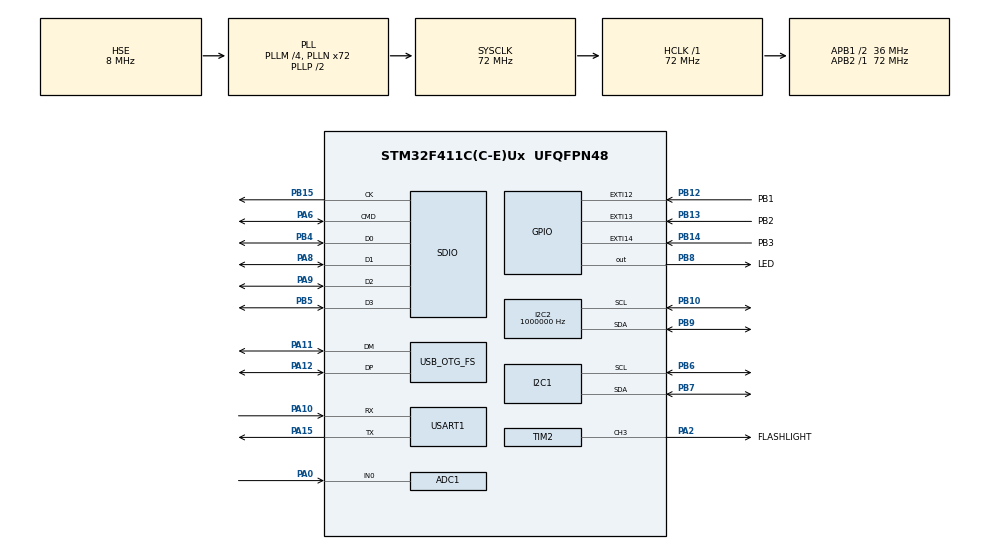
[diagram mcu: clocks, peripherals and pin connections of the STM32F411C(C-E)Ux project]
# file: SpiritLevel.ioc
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Mcu.Family=STM32F4
PA6.Mode=SD_4_bits_Wide_bus
USB_DEVICE.CLASS_NAME_FS=MSC
RCC.CortexFreq_Value=72000000
FATFS._USE_LFN=1
PB10.Mode=I2C
VP_FATFS_VS_SDIO.Mode=SDIO
PB14.GPIO_Label=PB3
PA11.Mode=Device_Only
PB13.GPIO_Label=PB2
PB13.Signal=GPXTI13
PB15.Signal=SDIO_CK
RCC.SYSCLKSource=RCC_SYSCLKSOURCE_PLLCLK
ProjectManager.StackSize=0x400
PA12.Signal=USB_OTG_FS_DP
PH0\ -\ OSC_IN.Signal=RCC_OSC_IN
TIM2.Pulse-PWM\ Generation3\ CH3=0x7FFFFFFF
RCC.HCLKFreq_Value=72000000
RCC.APB2TimFreq_Value=72000000
PB6.Signal=I2C1_SCL
PB6.Mode=I2C
RCC.AHBFreq_Value=72000000
NVIC.EXTI15_10_IRQn=true\:0\:0\:false\:false\:true\:true\:true
ADC1.Channel-0\#ChannelRegularConversion=ADC_CHANNEL_0
RCC.HSE_VALUE=8000000
PB3.Mode=Trace_Asynchronous_SW
PA15.Mode=Asynchronous
PB12.GPIO_Label=PB1
PB4.Mode=SD_4_bits_Wide_bus
PA14.Mode=Trace_Asynchronous_SW
PB5.Mode=SD_4_bits_Wide_bus
PB7.Signal=I2C1_SDA
PA8.Signal=SDIO_D1
SH.ADCx_IN0.0=ADC1_IN0,IN0
ADC1.SamplingTime-0\#ChannelRegularConversion=ADC_SAMPLETIME_3CYCLES
Mcu.Package=UFQFPN48
PB9.Signal=I2C2_SDA
PB14.GPIO_PuPd=GPIO_PULLUP
PA6.Signal=SDIO_CMD
NVIC.OTG_FS_IRQn=true\:0\:0\:false\:false\:true\:false\:true
PA2.GPIO_Label=FLASHLIGHT
PA10.Signal=USART1_RX
USB_OTG_FS.VirtualMode=Device_Only
PA15.Signal=USART1_TX
RCC.APB1TimFreq_Value=72000000
VP_USB_DEVICE_VS_USB_DEVICE_MSC_FS.Mode=MSC_FS
I2C2.I2C_Mode=I2C_Fast
PB4.Signal=SDIO_D0
PB14.GPIO_ModeDefaultEXTI=GPIO_MODE_IT_FALLING
ADC1.Rank-0\#ChannelRegularConversion=1
PA10.Mode=Asynchronous
USB_DEVICE.VirtualModeFS=Msc_FS
PH1\ -\ OSC_OUT.Mode=HSE-External-Clock-Source
RCC.APB1CLKDivider=RCC_HCLK_DIV2
PB13.GPIO_ModeDefaultEXTI=GPIO_MODE_IT_FALLING
PA0-WKUP.Signal=ADCx_IN0
PA13.Signal=SYS_JTMS-SWDIO
PB8.GPIO_Label=LED
PA9.Mode=SD_4_bits_Wide_bus
PH0\ -\ OSC_IN.Mode=HSE-External-Clock-Source
ProjectManager.TargetToolchain=Makefile
PB9.Mode=I2C
PA9.Signal=SDIO_D2
SDIO.ClockDiv=5
RCC.LSE_VALUE=32768
PB10.Signal=I2C2_SCL
PB14.Signal=GPXTI14
PH1\ -\ OSC_OUT.Signal=RCC_OSC_OUT
board=custom
RCC.VCOOutputFreq_Value=144000000
PB15.Mode=SD_4_bits_Wide_bus
PB13.GPIO_PuPd=GPIO_PULLUP
RCC.APB2Freq_Value=72000000
VP_TIM2_VS_ClockSourceINT.Mode=Internal
SH.S_TIM2_CH3.0=TIM2_CH3,PWM Generation3 CH3
I2C2.ClockSpeed=1000000
TIM2.Channel-PWM\ Generation3\ CH3=TIM_CHANNEL_3
TIM2.Period=0xFFFFFFFF
PA13.Mode=Trace_Asynchronous_SW
Mcu.Name=STM32F411C(C-E)Ux
PA2.Signal=S_TIM2_CH3
RCC.48MHZClocksFreq_Value=48000000
PB3.Signal=SYS_JTDO-SWO
RCC.SYSCLKFreq_VALUE=72000000
PB5.Signal=SDIO_D3
ADC1.master=1
PA12.Mode=Device_Only
USART1.VirtualMode=VM_ASYNC
PB7.Mode=I2C
PA11.Signal=USB_OTG_FS_DM
PA14.Signal=SYS_JTCK-SWCLK
ProjectManager.HeapSize=0x200
PB12.GPIO_ModeDefaultEXTI=GPIO_MODE_IT_FALLING
RCC.HSI_VALUE=16000000
RCC.PLLQ=3
NVIC.PriorityGroup=NVIC_PRIORITYGROUP_4
ADC1.NbrOfConversionFlag=1
RCC.PLLM=4
RCC.PLLN=72
PB8.Signal=GPIO_Output
PA8.Mode=SD_4_bits_Wide_bus
PB12.GPIO_PuPd=GPIO_PULLUP
RCC.APB1Freq_Value=36000000
USB_DEVICE.VirtualMode=Msc
PB12.Signal=GPXTI12

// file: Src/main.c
/* USER CODE BEGIN Header */
/**
  ******************************************************************************
  * @file           : main.c
  * @brief          : Main program body
  ******************************************************************************
  * @attention
  *
  * <h2><center>&copy; Copyright (c) 2020 STMicroelectronics.
  * All rights reserved.</center></h2>
  *
  * This software component is licensed by ST under BSD 3-Clause license,
  * the "License"; You may not use this file except in compliance with the
  * License. You may obtain a copy of the License at:
  *                        opensource.org/licenses/BSD-3-Clause
  *
  ******************************************************************************
  */
/* USER CODE END Header */
#include "main.h"
#include "adc.h"
#include "fatfs.h"
#include "i2c.h"
#include "sdio.h"
#include "tim.h"
#include "usart.h"
#include "usb_device.h"
#include "gpio.h"

/* USER CODE BEGIN Includes */

#include "ssd1306.h"
#include "api.h"
#include "ui.h"

#include "appmenugeneration.h"
#include "guiassets.h"

#include "swo.h"

#include <stdbool.h>

/* USER CODE END Includes */

void SystemClock_Config(void);
/* USER CODE BEGIN PFP */

void showDevices(void);

/* USER CODE END PFP */

int main(void)
{

  /* MCU Configuration--------------------------------------------------------*/

  /* Reset of all peripherals, Initializes the Flash interface and the Systick. */
  HAL_Init();

  /* Configure the system clock */
  SystemClock_Config();

  /* USER CODE BEGIN SysInit */

  SWO_PrintString("System init _ ");

  /* USER CODE END SysInit */

  /* Initialize all configured peripherals */
  MX_GPIO_Init();
  MX_I2C1_Init();
  MX_I2C2_Init();
  MX_TIM2_Init();
  MX_USART1_UART_Init();
  //MX_USB_DEVICE_Init();
  MX_ADC1_Init();
  MX_SDIO_SD_Init();
  MX_FATFS_Init();
  /* USER CODE BEGIN 2 */

  f_mount(&SDFatFS, "/", 1);
  MX_USB_DEVICE_Init();

  SWO_PrintString("OK\n");
  SWO_PrintString("Screen & PB _ ");

  PB_Init(50);

  ssd1306_Init();
  ssd1306_SetWordWrap(true);

  SWO_PrintString("OK\n");

  splash();

  SWO_PrintString("Ready _______ OK\n");

  /* USER CODE END 2 */

  /* Infinite loop */
  /* USER CODE BEGIN WHILE */
  Menu_t mainMenu;
  mainMenu.entries = NULL;
  mainMenu.count = 0;

  App_t *apps = NULL;
  size_t appCount = 0;

  API_setPWM(htim2, 0, 0, 0);

  if(API_IO_ReadPB2()) {
    showDevices();

    while(!(API_getLastEvents() & EV_PB_RIGHT)) API_updateEvents();
  }

  refreshAppMenu(&apps, &mainMenu, &appCount);

  while (1) {
    API_updateEvents();

    if(API_getLastEvents() & EV_PB_LEFT) {
      UI_Menu_Prev(&mainMenu);
    }

    if(API_getLastEvents() & EV_PB_RIGHT) {
      UI_Menu_Next(&mainMenu);
    }

    if(API_getLastEvents() & EV_PB_MID) {
      loadScreen("Starting\napp...");
      API_apps_runApp(&apps[mainMenu.current->index]);

      refreshAppMenu(&apps, &mainMenu, &appCount);
    }

    UI_Menu_Draw(&mainMenu);
  /* USER CODE END WHILE */

  }
}

void SystemClock_Config(void)
{
  RCC_OscInitTypeDef RCC_OscInitStruct = {0};
  RCC_ClkInitTypeDef RCC_ClkInitStruct = {0};

  /** Configure the main internal regulator output voltage
  */
  __HAL_RCC_PWR_CLK_ENABLE();
  __HAL_PWR_VOLTAGESCALING_CONFIG(PWR_REGULATOR_VOLTAGE_SCALE1);
  /** Initializes the RCC Oscillators according to the specified parameters
  * in the RCC_OscInitTypeDef structure.
  */
  RCC_OscInitStruct.OscillatorType = RCC_OSCILLATORTYPE_HSE;
  RCC_OscInitStruct.HSEState = RCC_HSE_BYPASS;
  RCC_OscInitStruct.PLL.PLLState = RCC_PLL_ON;
  RCC_OscInitStruct.PLL.PLLSource = RCC_PLLSOURCE_HSE;
  RCC_OscInitStruct.PLL.PLLM = 4;
  RCC_OscInitStruct.PLL.PLLN = 72;
  RCC_OscInitStruct.PLL.PLLP = RCC_PLLP_DIV2;
  RCC_OscInitStruct.PLL.PLLQ = 3;
  if (HAL_RCC_OscConfig(&RCC_OscInitStruct) != HAL_OK)
  {
  Error_Handler();
  }
  /** Initializes the CPU, AHB and APB buses clocks
  */
  RCC_ClkInitStruct.ClockType = RCC_CLOCKTYPE_HCLK|RCC_CLOCKTYPE_SYSCLK
                |RCC_CLOCKTYPE_PCLK1|RCC_CLOCKTYPE_PCLK2;
  RCC_ClkInitStruct.SYSCLKSource = RCC_SYSCLKSOURCE_PLLCLK;
  RCC_ClkInitStruct.AHBCLKDivider = RCC_SYSCLK_DIV1;
  RCC_ClkInitStruct.APB1CLKDivider = RCC_HCLK_DIV2;
  RCC_ClkInitStruct.APB2CLKDivider = RCC_HCLK_DIV1;

  if (HAL_RCC_ClockConfig(&RCC_ClkInitStruct, FLASH_LATENCY_2) != HAL_OK)
  {
  Error_Handler();
  }
}

/* USER CODE BEGIN 4 */

void API_Quit() {
  /* DUMMY */
}

void showDevices(void) {

  /* *********** I2C *********** */
  bool dev[128];
  char buff[50];

  API_I2C_Scan(&hi2c1, dev);

  ssd1306_Fill(Black);
  ssd1306_SetCursor(0, 0);
  ssd1306_WriteString("Devices on I2C1 :\n", Font_6x8, White);

  uint8_t count = 0;

  for(uint8_t i = 0; i < 128; i++) {
    if(dev[i]) {
      snprintf(buff, sizeof(buff), "0x%02X,", i);

      ssd1306_WriteString(buff, Font_6x8, White);

      count ++;
    }
  }
  /* *************************** */

  /* *********** SD ************ */
  HAL_SD_CardInfoTypeDef info;
  HAL_SD_GetCardInfo(&hsd, &info);

  snprintf(buff, sizeof(buff), "SD Blocks : %lu\nBlock size : %lu", info.LogBlockNbr  - 1, info.LogBlockSize);

  ssd1306_SetCursor(0, 30);
  ssd1306_WriteString(buff, Font_6x8, White);

  ssd1306_UpdateScreen();

  if(count < 5) {
    API_DispERROR("ERROR :\nMissing I2C device");
  }
  /* *************************** */
}

/* USER CODE END 4 */

void Error_Handler(void)
{
}

/************************ (C) COPYRIGHT STMicroelectronics *****END OF FILE****/
